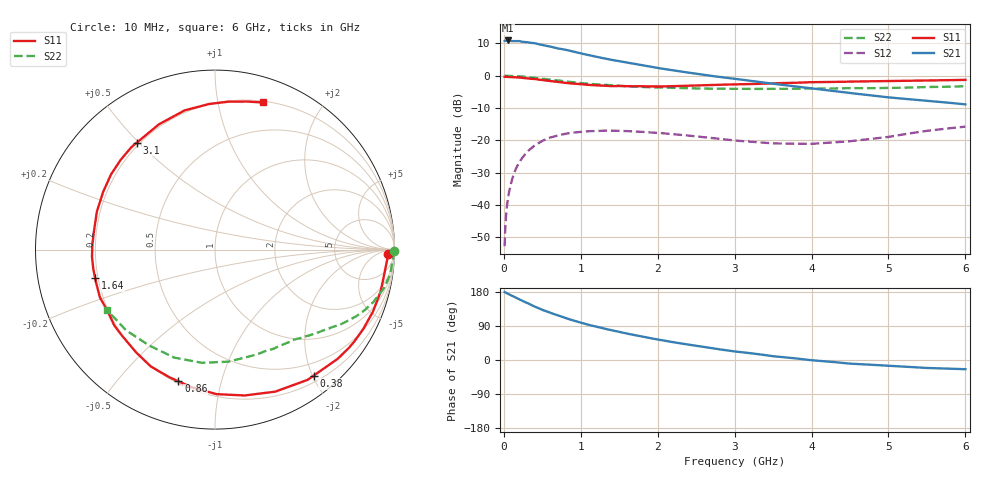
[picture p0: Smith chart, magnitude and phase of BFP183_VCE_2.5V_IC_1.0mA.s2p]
! Infineon Technologies  Discrete & RF Semiconductors
! BFP183
! VCE = 2.5 V,  IC =  1.0 mA
! Common Emitter S-Parameters:  Jan 2016
# GHz  S  MA  R  50
!  f  S11  S21  S12  S22
! GHz  MAG  ANG  MAG  ANG  MAG  ANG  MAG  ANG
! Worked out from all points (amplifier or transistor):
!   210 points, 10 MHz to 6 GHz, reference 50 ohm
!   highest |S21| = 10.9 dB at 50 MHz (marker M1)
!   |S21| within 3 dB of that: start of sweep to 823.5 MHz
!   unconditionally stable (mu >= 1): 2.46 GHz to end of sweep
!   at 185 MHz: K = 0.08, MSG = 19.1 dB, |S12| = -27.5 dB
!   at 1.52 GHz: K = 0.58, MSG = 10.7 dB, |S12| = -17.1 dB
!   at 6 GHz: K = 1.05, MAG = 2.1 dB, |S12| = -15.8 dB
!   S11 on the Smith chart (normalised r, x): 10 MHz: 37, -24; 380 MHz: 0.29, -2.02; 860 MHz: 0.21, -0.74; 1.64 GHz: 0.19, -0.11; 3.1 GHz: 0.19, +0.49; 6 GHz: 0.21, +1.35
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0.01  0.9633 -1.4  3.456 179.3  0.0023 87.3  0.9999 -0.5
0.015  0.9625 -2.2  3.47 178.9  0.0035 85.8  0.9984 -0.7
0.025  0.9602 -3.7  3.489 178.0  0.006 85.8  0.9965 -1.2
0.05  0.9541 -7.3  3.512 175.0  0.0118 87.3  0.9947 -2.5
0.095  0.9517 -13.4  3.439 170.6  0.022 82.1  0.9889 -4.7
0.155  0.9442 -22.2  3.447 164.4  0.036 76.2  0.9854 -7.7
0.3  0.9155 -41.6  3.304 150.9  0.0658 64.9  0.9548 -14.3
0.38  0.8917 -52.0  3.199 143.0  0.0795 58.7  0.9336 -17.6
0.5  0.8597 -67.0  2.986 132.4  0.0979 50.1  0.8982 -22.2
0.6  0.8294 -78.5  2.832 124.9  0.1101 43.9  0.8699 -25.3
0.7  0.8054 -89.4  2.649 117.6  0.1188 38.3  0.8403 -28.1
0.86  0.7615 -105.5  2.43 107.0  0.1295 30.3  0.7999 -32.0
1.02  0.7372 -120.5  2.185 97.4  0.1357 23.2  0.7645 -35.5
1.3  0.7027 -143.0  1.856 83.1  0.1412 13.4  0.7226 -40.6
1.64  0.6862 -166.8  1.565 68.1  0.1384 4.6  0.684 -46.2
2.02  0.682 171.3  1.307 53.4  0.1301 -1.9  0.6567 -52.4
2.6  0.715 144.1  1.034 34.4  0.1116 -6.9  0.6313 -63.3
3.1  0.7382 126.1  0.865 20.4  0.0973 -5.2  0.6241 -74.1
3.5  0.7648 114.1  0.751 10.0  0.0897 0.2  0.6288 -83.1
4.1  0.7955 100.3  0.617 -2.2  0.0898 12.1  0.6334 -99.4
5.1  0.8301 83.3  0.451 -16.5  0.1184 26.3  0.6493 -127.2
6  0.8619 72.0  0.36 -24.3  0.1629 23.1  0.6888 -150.5
